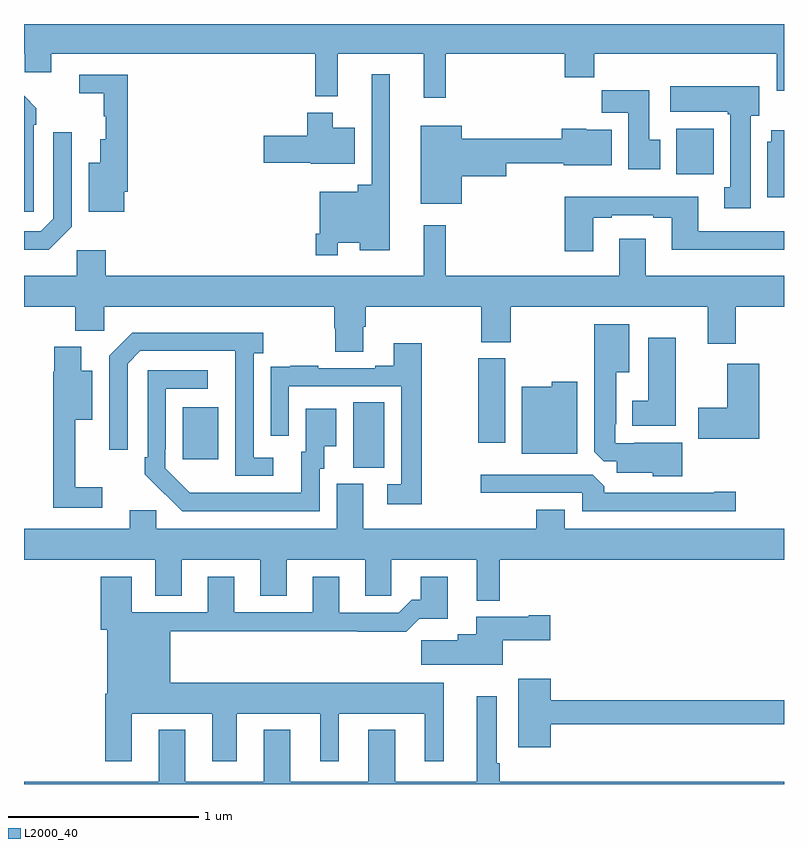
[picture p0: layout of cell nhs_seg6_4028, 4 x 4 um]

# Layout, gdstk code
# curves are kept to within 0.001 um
import gdstk
lib = gdstk.Library(unit=1e-6, precision=1e-09)
def R(c, l, rs):  # rectangles x0, y0, x1, y1
    for r in rs: c.add(gdstk.rectangle(r[:2], r[2:], *l))
def P(c, l, *ps):  # polygons
    for p in ps: c.add(gdstk.Polygon(p, *l))
L2000_40 = (2000, 40)

nhs_seg6_4028 = lib.new_cell('nhs_seg6_4028')
R(nhs_seg6_4028, L2000_40, [(350.732,937.165,350.896,937.508), (349.835,937.209,350.023,937.483), (351.391,937.296,351.532,937.74), (352.433,938.708,352.63,938.95)])
P(nhs_seg6_4028, L2000_40, [(351.221,939.344),(351.845,939.344),(351.845,939.22),(352.001,939.22),(352.001,939.344),(352.961,939.344),(352.961,939.15),(353,939.15),(353,939.5),(349,939.5),(349,939.344),(349.005,939.344),(349.005,939.246),(349.144,939.246),(349.144,939.344),(350.533,939.344),(350.533,939.119),(350.651,939.119),(350.651,939.344),(351.104,939.344),(351.104,939.111),(351.221,939.111)],
  [(350.652,938.348),(350.768,938.348),(350.768,938.309),(350.926,938.309),(350.926,939.235),(350.829,939.235),(350.829,938.653),(350.756,938.653),(350.756,938.617),(350.556,938.617),(350.556,938.395),(350.536,938.395),(350.536,938.283),(350.652,938.283)],
  [(349.528,938.617),(349.547,938.617),(349.547,939.234),(349.29,939.234),(349.29,939.136),(349.419,939.136),(349.419,939.015),(349.43,939.015),(349.43,938.893),(349.4,938.893),(349.4,938.77),(349.34,938.77),(349.34,938.513),(349.528,938.513)],
  [(352.825,939.018),(352.87,939.018),(352.87,939.172),(352.401,939.172),(352.401,939.038),(352.705,939.038),(352.705,939.025),(352.718,939.025),(352.718,938.642),(352.685,938.642),(352.685,938.529),(352.825,938.529)],
  [(352.348,938.892),(352.291,938.892),(352.291,939.151),(352.042,939.151),(352.042,939.032),(352.181,939.032),(352.181,938.736),(352.348,938.736)],
  [(349.05,938.969),(349.065,938.969),(349.065,939.057),(349,939.122),(349,938.511),(349.05,938.511)],
  [(350.74,938.953),(350.626,938.953),(350.626,939.034),(350.492,939.034),(350.492,938.913),(350.262,938.913),(350.262,938.771),(350.508,938.771),(350.508,938.765),(350.74,938.765)],
  [(351.304,938.699),(351.538,938.699),(351.538,938.767),(351.842,938.767),(351.842,938.756),(352.093,938.756),(352.093,938.944),(351.96,938.944),(351.96,938.95),(351.83,938.95),(351.83,938.896),(351.304,938.896),(351.304,938.965),(351.089,938.965),(351.089,938.555),(351.304,938.555)],
  [(353,938.941),(352.934,938.941),(352.934,938.88),(352.913,938.88),(352.913,938.588),(353,938.588)],
  [(349.251,938.433),(349.251,938.929),(349.155,938.929),(349.155,938.475),(349.089,938.409),(349,938.409),(349,938.312),(349.13,938.312)],
  [(351.997,938.481),(352.093,938.481),(352.093,938.493),(352.313,938.493),(352.313,938.481),(352.409,938.481),(352.409,938.312),(353,938.312),(353,938.409),(352.549,938.409),(352.549,938.59),(351.845,938.59),(351.845,938.304),(351.997,938.304)],
  [(349.43,938.308),(349.278,938.308),(349.278,938.176),(349,938.176),(349,938.012),(349.271,938.012),(349.271,937.886),(349.422,937.886),(349.422,938.012),(350.633,938.012),(350.633,937.899),(350.638,937.899),(350.638,937.774),(350.785,937.774),(350.785,937.906),(350.798,937.906),(350.798,938.012),(351.406,938.012),(351.406,937.825),(351.561,937.825),(351.561,938.012),(352.598,938.012),(352.598,937.818),(352.746,937.818),(352.746,938.012),(353,938.012),(353,938.176),(352.273,938.176),(352.273,938.371),(352.133,938.371),(352.133,938.176),(351.221,938.176),(351.221,938.44),(351.104,938.44),(351.104,938.176),(349.43,938.176)],
  [(352.465,937.297),(352.213,937.297),(352.213,937.293),(352.113,937.293),(352.113,937.393),(352.117,937.393),(352.117,937.667),(352.186,937.667),(352.186,937.921),(352.001,937.921),(352.001,937.249),(352.05,937.2),(352.121,937.2),(352.121,937.139),(352.308,937.139),(352.308,937.121),(352.465,937.121)],
  [(350.311,937.218),(350.208,937.218),(350.208,937.766),(350.26,937.766),(350.26,937.876),(349.57,937.876),(349.449,937.755),(349.449,937.26),(349.545,937.26),(349.545,937.713),(349.611,937.779),(350.111,937.779),(350.112,937.122),(350.311,937.122)],
  [(352.429,937.849),(352.286,937.849),(352.286,937.516),(352.202,937.516),(352.202,937.385),(352.429,937.385)],
  [(351.094,937.819),(350.945,937.819),(350.945,937.702),(350.849,937.702),(350.849,937.689),(350.549,937.689),(350.549,937.702),(350.401,937.702),(350.401,937.695),(350.299,937.695),(350.299,937.586),(350.298,937.586),(350.298,937.332),(350.394,937.332),(350.394,937.593),(350.985,937.593),(350.985,937.077),(350.913,937.077),(350.913,936.972),(351.094,936.972)],
  [(349.411,937.063),(349.271,937.063),(349.271,937.418),(349.36,937.418),(349.36,937.675),(349.3,937.675),(349.3,937.801),(349.16,937.801),(349.16,937.671),(349.153,937.671),(349.153,936.954),(349.411,936.954)],
  [(352.87,937.711),(352.7,937.711),(352.7,937.479),(352.548,937.479),(352.548,937.316),(352.87,937.316)],
  [(350.556,937.158),(350.581,937.158),(350.581,937.277),(350.644,937.277),(350.644,937.474),(350.483,937.474),(350.483,937.248),(350.459,937.248),(350.459,937.032),(349.872,937.033),(349.743,937.161),(349.743,937.261),(349.746,937.261),(349.746,937.581),(349.966,937.581),(349.966,937.677),(349.65,937.677),(349.65,937.219),(349.635,937.219),(349.635,937.131),(349.832,936.936),(350.556,936.936)],
  [(351.913,937.618),(351.777,937.618),(351.777,937.591),(351.62,937.591),(351.62,937.238),(351.913,937.238)],
  [(352.747,937.037),(352.634,937.037),(352.634,937.032),(352.055,937.032),(352.055,937.066),(351.993,937.128),(351.405,937.128),(351.405,937.032),(351.939,937.032),(351.939,936.936),(352.747,936.936)],
  [(351.505,936.68),(353,936.68),(353,936.844),(351.847,936.844),(351.847,936.943),(351.695,936.943),(351.695,936.844),(350.785,936.844),(350.785,937.08),(350.645,937.08),(350.645,936.844),(349.695,936.844),(349.695,936.942),(349.556,936.942),(349.556,936.844),(349,936.844),(349,936.68),(349.691,936.68),(349.691,936.49),(349.831,936.49),(349.831,936.68),(350.243,936.68),(350.243,936.49),(350.383,936.49),(350.383,936.68),(350.795,936.68),(350.795,936.49),(350.934,936.49),(350.934,936.68),(351.383,936.68),(351.383,936.464),(351.505,936.464)],
  [(349.567,935.87),(349.991,935.87),(349.991,935.619),(350.119,935.619),(350.119,935.87),(350.558,935.87),(350.558,935.619),(350.656,935.619),(350.656,935.87),(351.11,935.87),(351.11,935.619),(351.208,935.619),(351.208,936.034),(349.771,936.034),(349.771,936.304),(350.755,936.304),(350.755,936.302),(351.011,936.302),(351.08,936.371),(351.229,936.371),(351.229,936.592),(351.089,936.592),(351.089,936.469),(351.04,936.469),(350.973,936.402),(350.659,936.402),(350.659,936.592),(350.519,936.592),(350.519,936.405),(350.107,936.405),(350.107,936.592),(349.967,936.592),(349.967,936.405),(349.567,936.405),(349.567,936.592),(349.403,936.592),(349.403,936.312),(349.439,936.312),(349.439,935.974),(349.427,935.974),(349.427,935.619),(349.567,935.619)],
  [(351.52,936.257),(351.769,936.257),(351.769,936.387),(351.656,936.387),(351.656,936.379),(351.38,936.379),(351.38,936.289),(351.284,936.289),(351.284,936.257),(351.09,936.257),(351.09,936.128),(351.52,936.128)],
  [(351.773,935.814),(353,935.814),(353,935.942),(351.773,935.942),(351.773,936.055),(351.602,936.055),(351.602,935.694),(351.773,935.694)],
  [(349.849,935.785),(349.709,935.785),(349.709,935.512),(349,935.512),(349,935.5),(353,935.5),(353,935.512),(351.505,935.512),(351.505,935.608),(351.487,935.608),(351.487,935.962),(351.383,935.962),(351.383,935.512),(350.953,935.512),(350.953,935.785),(350.813,935.785),(350.813,935.512),(350.401,935.512),(350.401,935.785),(350.261,935.785),(350.261,935.512),(349.849,935.512)])

lib.write_gds('nhs_seg6_4028.gds')
